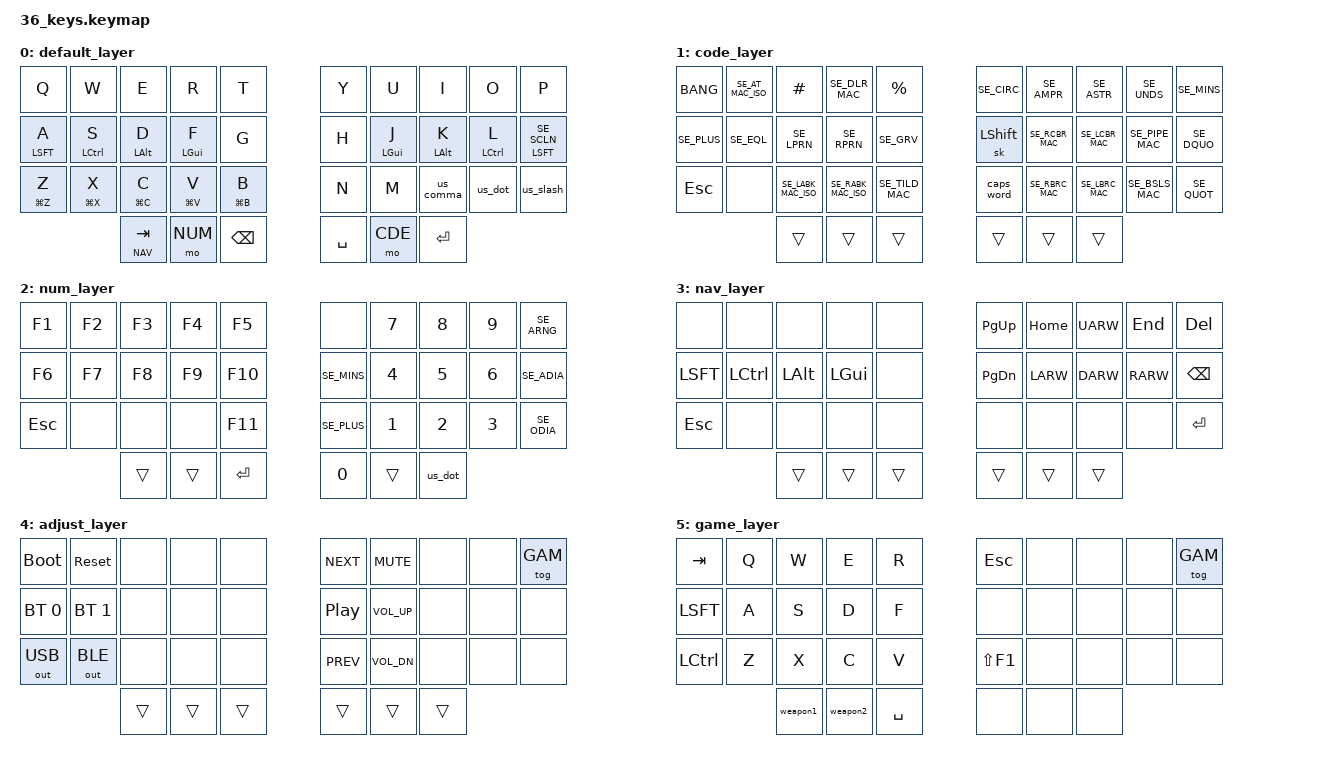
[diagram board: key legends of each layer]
/*
 * Copyright (c) 2020 The ZMK Contributors
 *
 * SPDX-License-Identifier: MIT
 */

#include <behaviors.dtsi>
#include <dt-bindings/zmk/bt.h>
#include <dt-bindings/zmk/keys.h>
#include <dt-bindings/zmk/outputs.h>

#include "funberg/se_us.dtsi"
#include "funberg/homerow_mods.dtsi"
#include "funberg/tapdances.dtsi"

#define CDE   1
#define NUM   2
#define NAV   3
#define ADJ   4
#define GAM   5


#define COMBO(NAME, BINDINGS, KEYPOS) \
  combo_##NAME { \
    timeout-ms = <50>; \
    bindings = <BINDINGS>; \
    key-positions = <KEYPOS>; \
  }

&caps_word {
    continue-list = <SE_UNDS SE_MINS BKSP>;
};

/ {
    conditional_layers {
        compatible = "zmk,conditional-layers";
        tri_layer {
            if-layers = <CDE NUM>;
            then-layer = <ADJ>;
        };
    };

    combos {
/*
 0  1  2  3  4     5  6  7  8  9
10 11 12 13 14    15 16 17 18 19
20 21 22 23 24    25 26 27 28 29
      30 31 32    33 34 35
*/
        compatible = "zmk,combos";

        // Mouse compos for mods
        COMBO(lsft, &kp LEFT_SHIFT, 10 20);
        COMBO(lctrl, &kp LEFT_CONTROL, 11 21);
        COMBO(lalt, &kp LEFT_ALT, 12 22);
        COMBO(lgui, &kp LEFT_GUI, 13 23);

        COMBO(rgui, &kp LEFT_GUI, 16 26);
        COMBO(ralt, &kp LEFT_ALT, 17 27);
        COMBO(rctrl, &kp LEFT_CONTROL, 18 28);
        COMBO(rsft, &kp LEFT_SHIFT, 19 29);
    };

    macros {
        weapon1: weapon1 {
            label = "weapon1";
            compatible = "zmk,behavior-macro";
            #binding-cells = <0>;
            bindings
                = <&macro_tap &kp N3>
                , <&macro_pause_for_release>
                , <&macro_tap &kp N1>
                ;
        };
        weapon2: weapon2 {
            label = "weapon2";
            compatible = "zmk,behavior-macro";
            #binding-cells = <0>;
            bindings
                = <&macro_tap &kp N4>
                , <&macro_pause_for_release>
                , <&macro_tap &kp N2>
                ;
        };
    };

    behaviors {
        ht: hold_tap_retro {
            compatible = "zmk,behavior-hold-tap";
            label = "LAYER_TAP_RETRO";
            #binding-cells = <2>;
            flavor = "tap-preferred";
            tapping-term-ms = <400>;
            bindings = <&kp>, <&kp>;
        };
    };

    keymap {
        compatible = "zmk,keymap";

        default_layer {
            bindings = <
&kp Q       &kp W       &kp E        &kp R        &kp T           &kp Y   &kp U         &kp I        &kp O       &kp P
&lhm LSFT A &lhm LCTL S &lhm LALT D  &lhm LGUI F  &kp G           &kp H   &rhm LGUI J   &rhm LALT K  &rhm LCTL L &rhm_scln LSFT SE_SCLN
&ht LG(Z) Z &ht LG(X) X &ht LG(C) C  &ht LG(V) V  &ht LG(B) B     &kp N   &kp M         &us_comma    &us_dot     &us_slash
                        &lt NAV TAB  &mo NUM      &kp BKSP        &kp SPC &mo CDE       &kp RET
            >;
        };

        code_layer {
            bindings = <
&kp BANG    &kp SE_AT_MAC_ISO &kp HASH            &kp SE_DLR_MAC      &kp PRCNT            &kp SE_CIRC  &kp SE_AMPR     &kp SE_ASTR     &kp SE_UNDS        &kp SE_MINS
&kp SE_PLUS &kp SE_EQL        &kp SE_LPRN         &kp SE_RPRN         &kp SE_GRV           &sk LSHIFT   &kp SE_RCBR_MAC &kp SE_LCBR_MAC &kp SE_PIPE_MAC  &kp SE_DQUO
&kp ESC     &none             &kp SE_LABK_MAC_ISO &kp SE_RABK_MAC_ISO &kp SE_TILD_MAC      &caps_word   &kp SE_RBRC_MAC &kp SE_LBRC_MAC &kp SE_BSLS_MAC  &kp SE_QUOT
                                  &trans              &trans              &trans           &trans       &trans          &trans
            >;
        };

//         code_layer {
//             bindings = <
// &kp BANG        &kp SE_AT_MAC_ISO &kp HASH         &kp SE_DLR_MAC   &kp PRCNT                &kp SE_CIRC  &kp SE_AMPR  &kp SE_ASTR &kp SE_UNDS      &kp SE_MINS
// &kp SE_TILD_MAC &none             &kp SE_LCBR_MAC  &kp SE_LBRC_MAC  &kp SE_LABK_MAC_ISO      &sk LSHIFT   &kp SE_LPRN  &kp SE_EQL  &kp SE_PIPE_MAC  &kp SE_DQUO
// &kp ESC         &none             &kp SE_RCBR_MAC  &kp SE_RBRC_MAC  &kp SE_RABK_MAC_ISO      &caps_word   &kp SE_RPRN  &kp SE_PLUS &kp SE_BSLS_MAC  &kp SE_QUOT
//                                   &trans           &trans           &trans                   &trans       &trans       &trans
//             >;
//         };

        num_layer {
            bindings = <
&kp F1    &kp F2    &kp F3    &kp F4    &kp F5           &none       &kp N7  &kp N8   &kp N9   &kp SE_ARNG
&kp F6    &kp F7    &kp F8    &kp F9    &kp F10          &kp SE_MINS &kp N4  &kp N5   &kp N6   &kp SE_ADIA
&kp ESC   &none     &none     &none     &kp F11          &kp SE_PLUS &kp N1  &kp N2   &kp N3   &kp SE_ODIA
                    &trans    &trans    &kp RET          &kp N0      &trans  &us_dot
            >;
        };

        nav_layer {
            bindings = <
&none    &none    &none    &none    &none      &kp PG_UP &kp HOME &kp UARW &kp END  &kp DEL
&kp LSFT &kp LCTL &kp LALT &kp LGUI &none      &kp PG_DN &kp LARW &kp DARW &kp RARW &kp BKSP
&kp ESC  &none    &none    &none    &none      &none     &none    &none    &none    &kp RET
                  &trans   &trans   &trans     &trans    &trans   &trans
            >;
        };

        adjust_layer {
            bindings = <
&bootloader  &sys_reset        &none  &none  &none       &kp C_NEXT  &kp C_MUTE    &none &none &tog GAM
&bt BT_SEL 0 &bt BT_SEL 1  &none  &none  &none       &kp C_PP    &kp C_VOL_UP  &none &none &none
&out OUT_USB &out OUT_BLE  &none  &none  &none       &kp C_PREV  &kp C_VOL_DN  &none &none &none
                           &trans &trans &trans      &trans      &trans        &trans
            >;
        };

        game_layer {
            bindings = <
&kp TAB  &kp Q  &kp W     &kp E      &kp R          &kp ESC    &none &none &none &tog GAM
&kp LSFT &kp A  &kp S     &kp D      &kp F          &none      &none &none &none &none
&kp LCTL &kp Z  &kp X     &kp C      &kp V          &kp LS(F1) &none &none &none &none
                &weapon1  &weapon2   &kp SPC        &none      &none &none
            >;
        };

    };
};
